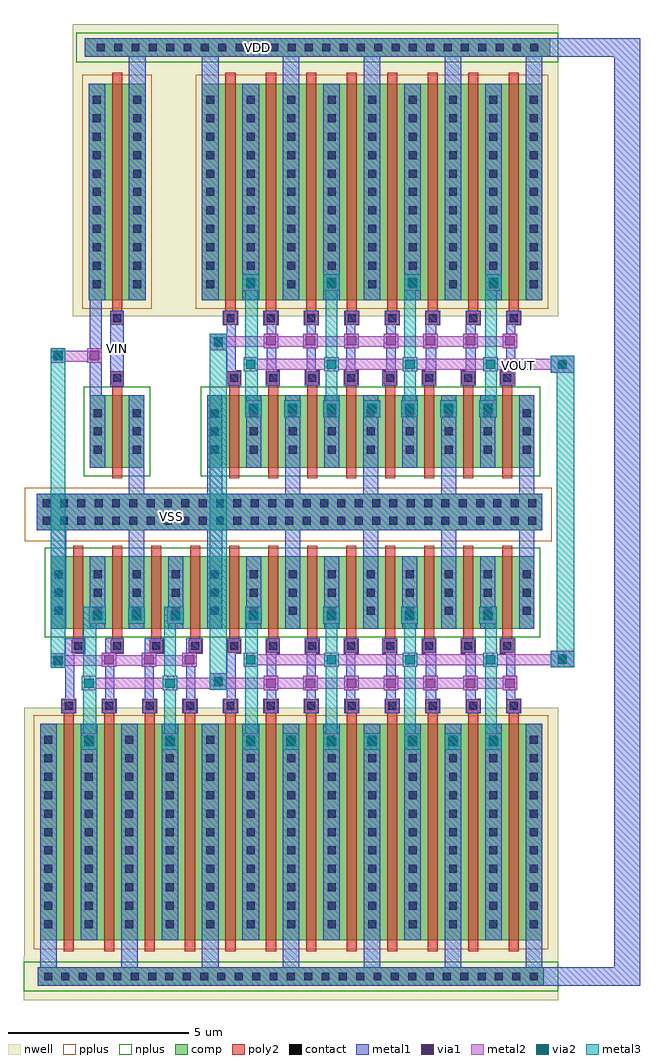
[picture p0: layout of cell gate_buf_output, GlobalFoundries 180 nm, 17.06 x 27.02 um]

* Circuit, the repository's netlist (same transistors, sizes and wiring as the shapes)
** sch_path: /foss/designs/Chipathon-2026-OnChipSAR/designs/sar_adc/digital/gate_buf_output/xschem/gate_buf_output.sch
.subckt gate_buf_output VDD VIN VOUT VSS
*.PININFO VDD:B VSS:B VIN:B VOUT:B
MN1 net1 VIN VSS VSS nfet_03v3 L=0.28u W=2u nf=1
MP1 net1 VIN VDD VDD pfet_03v3 L=0.28u W=6u nf=1
MP2 net2 net1 VDD VDD pfet_03v3 L=0.28u W=6u nf=1 m=4
MN2 net2 net1 VSS VSS nfet_03v3 L=0.28u W=2u nf=1 m=4
MP3 VOUT net2 VDD VDD pfet_03v3 L=0.28u W=6u nf=1 m=16
MN3 VOUT net2 VSS VSS nfet_03v3 L=0.28u W=2u nf=1 m=16
.ends

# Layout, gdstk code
from math import pi, radians
import gdstk
lib = gdstk.Library(unit=1e-6, precision=1e-09)
def R(c, l, rs):  # rectangles x0, y0, x1, y1
    for r in rs: c.add(gdstk.rectangle(r[:2], r[2:], *l))
def A(c, l, x, y, w, h, nx, ny, dx, dy):  # array of equal rectangles
    R(c, l, [(x+i*dx, y+j*dy, x+i*dx+w, y+j*dy+h) for i in range(nx) for j in range(ny)])
nwell = (21, 0)
comp = (22, 0)
poly2 = (30, 0)
pplus = (31, 0)
nplus = (32, 0)
contact = (33, 0)
metal1 = (34, 0)
via1 = (35, 0)
metal2 = (36, 0)
via2 = (38, 0)
metal3 = (42, 0)

pfet = lib.new_cell('pfet')
R(pfet, nwell, [(-0.9,-0.44,1.56,6.44)])
R(pfet, comp, [(-0.46,0,0,6), (0,0,0.66,6), (0.66,0,1.12,6)])
R(pfet, poly2, [(0.14,-0.68,0.52,-0.3), (0.19,-0.3,0.47,6.3)])
R(pfet, pplus, [(-0.63,-0.24,1.29,6.24)])
A(pfet, contact, -0.34, 0.34, 0.22, 0.22, 1, 11, 0, 0.51)
A(pfet, contact, 0.78, 0.34, 0.22, 0.22, 1, 11, 0, 0.51)
R(pfet, contact, [(0.22,-0.6,0.44,-0.38)])
R(pfet, metal1, [(0.14,-0.681,0.52,-0.299), (-0.42,0.26,-0.04,5.74), (0.7,0.26,1.08,5.74)])

via_dev_8 = lib.new_cell('via_dev$8')
R(via_dev_8, metal1, [(0,0,0.46,0.46)])
R(via_dev_8, via1, [(0.1,0.1,0.36,0.36)])
R(via_dev_8, metal2, [(0,0,0.46,0.46)])
R(via_dev_8, via2, [(0.1,0.1,0.36,0.36)])
R(via_dev_8, metal3, [(0,0,0.46,0.46)])

nfet = lib.new_cell('nfet')
R(nfet, comp, [(-0.42,0,0,2), (0,0,0.66,2), (0.66,0,1.08,2)])
R(nfet, poly2, [(0.19,-0.3,0.47,2.3), (0.15,2.3,0.51,2.66)])
R(nfet, nplus, [(-0.59,-0.24,1.25,2.24)])
A(nfet, contact, -0.32, 0.38, 0.22, 0.22, 1, 3, 0, 0.51)
A(nfet, contact, 0.76, 0.38, 0.22, 0.22, 1, 3, 0, 0.51)
R(nfet, contact, [(0.22,2.37,0.44,2.59)])
R(nfet, metal1, [(-0.4,0.3,-0.02,1.7), (0.68,0.3,1.06,1.7), (0.14,2.289,0.52,2.671)])

via_dev_14 = lib.new_cell('via_dev$14')
R(via_dev_14, comp, [(0,0,14,0.5)])
A(via_dev_14, contact, 0.17, 0.14, 0.22, 0.22, 29, 1, 0.48, 0)
R(via_dev_14, metal1, [(0,0,14,0.5)])

via_dev_15 = lib.new_cell('via_dev$15')
R(via_dev_15, comp, [(0,0,14,1)])
A(via_dev_15, contact, 0.17, 0.15, 0.22, 0.22, 29, 2, 0.48, 0.48)
R(via_dev_15, metal1, [(0,0,14,1)])

via_dev_17 = lib.new_cell('via_dev$17')
R(via_dev_17, comp, [(0,0,12.88,0.5)])
A(via_dev_17, contact, 0.33, 0.14, 0.22, 0.22, 26, 1, 0.48, 0)
R(via_dev_17, metal1, [(0,0,12.88,0.5)])

via_dev_10 = lib.new_cell('via_dev$10')
R(via_dev_10, metal1, [(0,0,0.48,0.46)])
R(via_dev_10, via1, [(0.11,0.1,0.37,0.36)])
R(via_dev_10, metal2, [(0,0,0.48,0.46)])
R(via_dev_10, via2, [(0.11,0.1,0.37,0.36)])
R(via_dev_10, metal3, [(0,0,0.48,0.46)])

via_dev_5 = lib.new_cell('via_dev$5')
R(via_dev_5, metal2, [(0,0,0.4,0.4)])
R(via_dev_5, via2, [(0.07,0.07,0.33,0.33)])
R(via_dev_5, metal3, [(0,0,0.4,0.4)])

via_dev_3 = lib.new_cell('via_dev$3')
R(via_dev_3, metal1, [(0,0,0.4,0.4)])
R(via_dev_3, via1, [(0.07,0.07,0.33,0.33)])
R(via_dev_3, metal2, [(0,0,0.4,0.4)])

via_dev_12 = lib.new_cell('via_dev$12')
R(via_dev_12, metal1, [(0,0,0.65,0.46)])
R(via_dev_12, via1, [(0.195,0.1,0.455,0.36)])
R(via_dev_12, metal2, [(0,0,0.65,0.46)])
R(via_dev_12, via2, [(0.195,0.1,0.455,0.36)])
R(via_dev_12, metal3, [(0,0,0.65,0.46)])

via_dev = lib.new_cell('via_dev')
R(via_dev, metal1, [(0,0,0.4,0.4)])
R(via_dev, via1, [(0.07,0.07,0.33,0.33)])
R(via_dev, metal2, [(0,0,0.4,0.4)])
R(via_dev, via2, [(0.07,0.07,0.33,0.33)])
R(via_dev, metal3, [(0,0,0.4,0.4)])

gate_buf_output = lib.new_cell('gate_buf_output')
R(gate_buf_output, nwell, [(15.95,-10.48,30.74,-9.27), (17.3,8.45,20.44,16.54), (20.44,15.33,30.74,16.54)])
R(gate_buf_output, pplus, [(15.97,2.22,30.57,3.7)])
R(gate_buf_output, nplus, [(15.95,-10.24,30.74,-9.42), (17.4,15.48,20.44,16.3), (20.44,15.48,30.74,16.3)])
A(gate_buf_output, metal1, 16.4, -9.58, 0.46, 6.75, 3, 1, 2.24, 0)
A(gate_buf_output, metal1, 20.88, -9.58, 0.46, 6.75, 3, 2, 2.24, 18.47)
A(gate_buf_output, metal1, 25.36, -9.58, 0.46, 6.75, 3, 2, 2.24, 18.47)
A(gate_buf_output, metal1, 17.52, -8.83, 0.46, 6, 6, 1, 2.24, 0)
A(gate_buf_output, metal1, 16.98, -2.54, 0.42, 0.4, 12, 1, 1.12, 0)
A(gate_buf_output, metal1, 16.7, -0.2, 0.42, 2.73, 3, 1, 2.16, 0)
A(gate_buf_output, metal1, 17.78, -0.2, 0.42, 2, 6, 1, 2.16, 0)
A(gate_buf_output, metal1, 21.02, -0.2, 0.42, 2.73, 3, 1, 2.16, 0)
A(gate_buf_output, metal1, 25.34, -0.2, 0.42, 2.73, 3, 2, 2.16, 3.73)
A(gate_buf_output, metal1, 18.86, 3.53, 0.42, 2.73, 4, 1, 2.16, 0)
A(gate_buf_output, metal1, 22.1, 4.26, 0.42, 2, 4, 1, 2.16, 0)
A(gate_buf_output, metal1, 22.68, 6.83, 0.25, 1.379, 3, 1, 1.1, 0)
A(gate_buf_output, metal1, 21.46, 8.2, 0.42, 0.4, 8, 1, 1.12, 0)
A(gate_buf_output, metal1, 22, 8.89, 0.46, 6, 4, 1, 2.24, 0)
R(gate_buf_output, metal1, [(30.34,-10.08,33.01,-9.58), (32.3,-9.58,33.01,16.14), (20.45,-2.15,20.7,-0.47), (17.09,-2.149,17.34,-0.47), (18.2,-2.149,18.45,-0.47), (19.3,-2.149,19.55,-0.47), (21.57,-2.149,21.82,-0.89), (22.68,-2.149,22.93,-0.89), (23.78,-2.149,24.03,-0.77), (24.88,-2.149,25.13,-0.77), (25.98,-2.149,26.24,-0.77), (27.08,-2.149,27.36,-0.77), (28.18,-2.149,28.46,-0.77), (29.3,-2.149,29.55,-0.77), (17.23,-0.89,17.65,-0.47), (18.32,-0.89,18.72,-0.47), (19.4,-0.89,19.82,-0.47), (20.48,-0.89,20.9,-0.47), (21.57,-0.89,21.97,-0.47), (22.64,-0.89,23.04,-0.47), (23.72,-0.89,24.14,-0.47), (24.8,-0.89,25.22,-0.47), (25.87,-0.89,26.29,-0.47), (26.96,-0.89,27.36,-0.47), (28.04,-0.89,28.46,-0.47), (29.12,-0.89,29.55,-0.47), (17.78,4.26,18.2,6.26), (17.78,6.26,18.11,8.89), (18.34,6.5,18.72,8.6), (21.55,6.53,21.97,6.95), (22.64,6.53,23.04,6.95), (23.72,6.53,24.14,6.95), (24.8,6.53,25.22,6.95), (25.87,6.53,26.29,6.95), (26.96,6.53,27.36,6.95), (28.04,6.53,28.46,6.95), (29.12,6.53,29.55,6.95), (21.57,6.83,21.82,8.209), (25.98,6.83,26.24,8.209), (27.08,6.83,27.36,8.209), (28.18,6.83,28.46,8.209), (29.3,6.83,29.55,8.209), (17.74,8.89,18.2,14.89), (18.86,8.89,19.32,15.64), (30.44,15.64,32.3,16.14)])
R(gate_buf_output, metal2, [(17.95,-1.86,20.19,-1.56), (20.19,-1.86,29.21,-1.56), (17.09,-1.23,20.34,-0.93), (22.42,-1.21,30.53,-0.91), (22.42,6.97,30.53,7.27), (16.76,7.19,17.71,7.49), (21.09,7.6,29.21,7.9)])
R(gate_buf_output, metal3, [(17.59,-3.09,17.95,0.4), (19.83,-3.09,20.15,0.4), (22.08,-3.09,22.42,-0.06), (24.31,-3.09,24.63,-0.06), (26.48,-3.09,26.8,-0.06), (28.72,-3.09,29.04,-0.06), (21.09,-1.46,21.57,7.53), (16.69,-0.88,17.09,7.56), (30.7,-0.81,31.18,6.89), (22.08,6.12,22.42,9.15), (24.31,6.12,24.63,9.15), (26.48,6.12,26.8,9.15), (28.72,6.12,29.04,9.15)])
gate_buf_output.add(gdstk.Reference(pfet, (23.58,8.89)))
gate_buf_output.add(gdstk.Reference(pfet, (22.46,8.89)))
gate_buf_output.add(gdstk.Reference(via_dev_8, (23.16,5.66)))
gate_buf_output.add(gdstk.Reference(nfet, (23.6,4.26)))
gate_buf_output.add(gdstk.Reference(nfet, (22.52,4.26)))
gate_buf_output.add(gdstk.Reference(via_dev_8, (23.12,-3.09), x_reflection=True))
gate_buf_output.add(gdstk.Reference(nfet, (23.6,1.8), x_reflection=True))
gate_buf_output.add(gdstk.Reference(nfet, (22.52,1.8), x_reflection=True))
gate_buf_output.add(gdstk.Reference(pfet, (23.58,-2.83), x_reflection=True))
gate_buf_output.add(gdstk.Reference(via_dev_14, (16.34,-9.58), x_reflection=True))
gate_buf_output.add(gdstk.Reference(pfet, (22.46,-2.83), x_reflection=True))
gate_buf_output.add(gdstk.Reference(via_dev_15, (30.3,3.53), rotation=pi))
gate_buf_output.add(gdstk.Reference(via_dev_17, (30.52,15.64), rotation=pi, x_reflection=True))
gate_buf_output.add(gdstk.Reference(pfet, (25.82,8.89)))
gate_buf_output.add(gdstk.Reference(pfet, (28.06,8.89)))
gate_buf_output.add(gdstk.Reference(pfet, (29.18,8.89)))
gate_buf_output.add(gdstk.Reference(via_dev_8, (27.48,5.66)))
gate_buf_output.add(gdstk.Reference(pfet, (26.94,8.89)))
gate_buf_output.add(gdstk.Reference(via_dev_8, (25.36,5.66)))
gate_buf_output.add(gdstk.Reference(via_dev_8, (26.48,9.15)))
gate_buf_output.add(gdstk.Reference(via_dev_8, (28.72,9.15)))
gate_buf_output.add(gdstk.Reference(via_dev_10, (28.56,5.66)))
gate_buf_output.add(gdstk.Reference(via_dev_5, (26.44,6.92)))
gate_buf_output.add(gdstk.Reference(via_dev_5, (28.67,6.92)))
gate_buf_output.add(gdstk.Reference(via_dev_3, (25.91,7.57)))
gate_buf_output.add(gdstk.Reference(via_dev_3, (27.01,7.57)))
gate_buf_output.add(gdstk.Reference(via_dev_3, (28.11,7.57)))
gate_buf_output.add(gdstk.Reference(via_dev_3, (29.21,7.57)))
gate_buf_output.add(gdstk.Reference(via_dev_8, (26.4,5.66)))
gate_buf_output.add(gdstk.Reference(nfet, (29,4.26)))
gate_buf_output.add(gdstk.Reference(nfet, (27.92,4.26)))
gate_buf_output.add(gdstk.Reference(nfet, (25.76,4.26)))
gate_buf_output.add(gdstk.Reference(pfet, (24.7,8.89)))
gate_buf_output.add(gdstk.Reference(via_dev_8, (24.24,5.66)))
gate_buf_output.add(gdstk.Reference(nfet, (24.68,4.26)))
gate_buf_output.add(gdstk.Reference(via_dev_3, (23.69,7.57)))
gate_buf_output.add(gdstk.Reference(nfet, (26.84,4.26)))
gate_buf_output.add(gdstk.Reference(via_dev_8, (24.24,9.15)))
gate_buf_output.add(gdstk.Reference(via_dev_5, (24.27,6.92)))
gate_buf_output.add(gdstk.Reference(via_dev_12, (30.53,6.89)))
gate_buf_output.add(gdstk.Reference(via_dev_3, (24.82,7.57)))
gate_buf_output.add(gdstk.Reference(via_dev_3, (22.59,7.57)))
gate_buf_output.add(gdstk.Reference(pfet, (21.34,8.89)))
gate_buf_output.add(gdstk.Reference(nfet, (21.44,4.26)))
gate_buf_output.add(gdstk.Reference(via_dev_8, (22,9.15)))
gate_buf_output.add(gdstk.Reference(via_dev_3, (18.11,7.16), rotation=pi, x_reflection=True))
gate_buf_output.add(gdstk.Reference(nfet, (18.86,4.26), rotation=pi, x_reflection=True))
gate_buf_output.add(gdstk.Reference(pfet, (18.86,8.89), rotation=pi, x_reflection=True))
gate_buf_output.add(gdstk.Reference(via_dev_8, (22.08,5.66)))
gate_buf_output.add(gdstk.Reference(via_dev_10, (21.09,7.51)))
gate_buf_output.add(gdstk.Reference(via_dev, (17.09,7.16), rotation=pi, x_reflection=True))
gate_buf_output.add(gdstk.Reference(via_dev_5, (22.03,6.92)))
gate_buf_output.add(gdstk.Reference(via_dev_8, (22,-3.09), x_reflection=True))
gate_buf_output.add(gdstk.Reference(nfet, (21.44,1.8), x_reflection=True))
gate_buf_output.add(gdstk.Reference(via_dev_8, (22.08,0.4), x_reflection=True))
gate_buf_output.add(gdstk.Reference(via_dev_3, (22.59,-1.51), x_reflection=True))
gate_buf_output.add(gdstk.Reference(pfet, (17.98,-2.83), x_reflection=True))
gate_buf_output.add(gdstk.Reference(via_dev_8, (17.52,-3.09), x_reflection=True))
gate_buf_output.add(gdstk.Reference(via_dev_8, (19.76,-3.09), x_reflection=True))
gate_buf_output.add(gdstk.Reference(via_dev_8, (18.84,0.4), x_reflection=True))
gate_buf_output.add(gdstk.Reference(via_dev_8, (19.92,0.4), x_reflection=True))
gate_buf_output.add(gdstk.Reference(via_dev_8, (17.76,0.4), x_reflection=True))
gate_buf_output.add(gdstk.Reference(nfet, (20.36,1.8), x_reflection=True))
gate_buf_output.add(gdstk.Reference(nfet, (19.28,1.8), x_reflection=True))
gate_buf_output.add(gdstk.Reference(nfet, (17.12,1.8), x_reflection=True))
gate_buf_output.add(gdstk.Reference(nfet, (18.2,1.8), x_reflection=True))
gate_buf_output.add(gdstk.Reference(pfet, (16.86,-2.83), x_reflection=True))
gate_buf_output.add(gdstk.Reference(pfet, (19.1,-2.83), x_reflection=True))
gate_buf_output.add(gdstk.Reference(pfet, (20.22,-2.83), x_reflection=True))
gate_buf_output.add(gdstk.Reference(via_dev_5, (22.03,-0.86), x_reflection=True))
gate_buf_output.add(gdstk.Reference(via_dev_5, (19.79,-1.91)))
gate_buf_output.add(gdstk.Reference(via_dev_5, (17.55,-1.91)))
gate_buf_output.add(gdstk.Reference(via_dev, (16.69,-1.28)))
gate_buf_output.add(gdstk.Reference(via_dev_3, (18.11,-1.26)))
gate_buf_output.add(gdstk.Reference(via_dev_3, (19.21,-1.26)))
gate_buf_output.add(gdstk.Reference(via_dev_3, (20.34,-1.26)))
gate_buf_output.add(gdstk.Reference(via_dev_10, (21.09,-1.89)))
gate_buf_output.add(gdstk.Reference(pfet, (21.34,-2.83), x_reflection=True))
gate_buf_output.add(gdstk.Reference(via_dev_3, (24.82,-1.51), x_reflection=True))
gate_buf_output.add(gdstk.Reference(pfet, (25.82,-2.83), x_reflection=True))
gate_buf_output.add(gdstk.Reference(pfet, (28.06,-2.83), x_reflection=True))
gate_buf_output.add(gdstk.Reference(pfet, (29.18,-2.83), x_reflection=True))
gate_buf_output.add(gdstk.Reference(pfet, (26.94,-2.83), x_reflection=True))
gate_buf_output.add(gdstk.Reference(via_dev_8, (25.36,-3.09), x_reflection=True))
gate_buf_output.add(gdstk.Reference(via_dev_8, (26.48,-3.09), x_reflection=True))
gate_buf_output.add(gdstk.Reference(via_dev_8, (27.6,-3.09), x_reflection=True))
gate_buf_output.add(gdstk.Reference(via_dev_12, (30.53,-1.27)))
gate_buf_output.add(gdstk.Reference(via_dev_8, (28.72,-3.09), x_reflection=True))
gate_buf_output.add(gdstk.Reference(via_dev_10, (28.56,0.4), x_reflection=True))
gate_buf_output.add(gdstk.Reference(via_dev_5, (26.44,-0.86), x_reflection=True))
gate_buf_output.add(gdstk.Reference(nfet, (25.76,1.8), x_reflection=True))
gate_buf_output.add(gdstk.Reference(via_dev_5, (28.67,-0.86), x_reflection=True))
gate_buf_output.add(gdstk.Reference(via_dev_3, (25.91,-1.51), x_reflection=True))
gate_buf_output.add(gdstk.Reference(via_dev_3, (27.01,-1.51), x_reflection=True))
gate_buf_output.add(gdstk.Reference(via_dev_3, (28.11,-1.51), x_reflection=True))
gate_buf_output.add(gdstk.Reference(via_dev_3, (29.21,-1.51), x_reflection=True))
gate_buf_output.add(gdstk.Reference(via_dev_8, (26.4,0.4), x_reflection=True))
gate_buf_output.add(gdstk.Reference(nfet, (29,1.8), x_reflection=True))
gate_buf_output.add(gdstk.Reference(nfet, (27.92,1.8), x_reflection=True))
gate_buf_output.add(gdstk.Reference(via_dev_8, (24.24,-3.09), x_reflection=True))
gate_buf_output.add(gdstk.Reference(via_dev_8, (24.24,0.4), x_reflection=True))
gate_buf_output.add(gdstk.Reference(pfet, (24.7,-2.83), x_reflection=True))
gate_buf_output.add(gdstk.Reference(nfet, (26.84,1.8), x_reflection=True))
gate_buf_output.add(gdstk.Reference(via_dev_3, (23.69,-1.51), x_reflection=True))
gate_buf_output.add(gdstk.Reference(nfet, (24.68,1.8), x_reflection=True))
gate_buf_output.add(gdstk.Reference(via_dev_5, (24.27,-0.86), x_reflection=True))
gate_buf_output.add(gdstk.Label('VDD', (22.42,15.89), layer=34, texttype=10))
gate_buf_output.add(gdstk.Label('VSS', (20.05,2.9), layer=34, texttype=10))
gate_buf_output.add(gdstk.Label('VIN', (18.53,7.55), layer=34, texttype=10))
gate_buf_output.add(gdstk.Label('VOUT', (29.652,7.082), layer=36, texttype=10))

lib.write_gds('gate_buf_output.gds')
